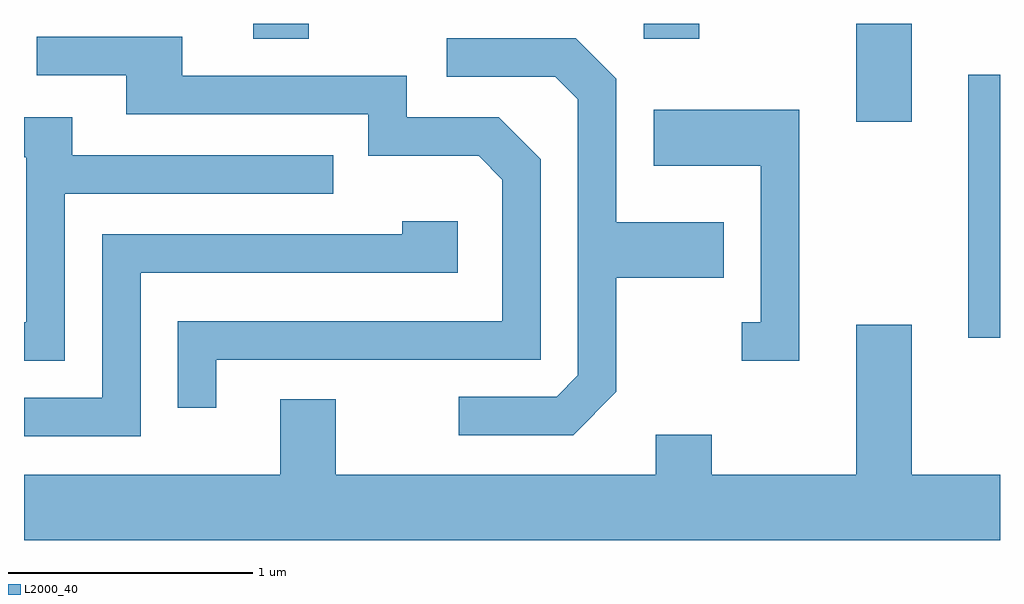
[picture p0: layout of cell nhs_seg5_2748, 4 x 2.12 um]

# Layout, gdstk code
import gdstk
lib = gdstk.Library(unit=1e-6, precision=1e-09)
def R(c, l, rs):  # rectangles x0, y0, x1, y1
    for r in rs: c.add(gdstk.rectangle(r[:2], r[2:], *l))
def P(c, l, *ps):  # polygons
    for p in ps: c.add(gdstk.Polygon(p, *l))
L2000_40 = (2000, 40)

nhs_seg5_2748 = lib.new_cell('nhs_seg5_2748')
R(nhs_seg5_2748, L2000_40, [(271.481,1408.786,271.611,1409.864), (271.021,1409.671,271.249,1410.072), (268.551,1410.011,268.779,1410.072), (270.151,1410.011,270.379,1410.072)])
P(nhs_seg5_2748, L2000_40, [(268.399,1408.696),(269.729,1408.696),(269.729,1409.517),(269.557,1409.689),(269.179,1409.689),(269.179,1409.859),(268.259,1409.859),(268.259,1410.019),(267.663,1410.019),(267.663,1409.861),(268.031,1409.861),(268.031,1409.701),(269.021,1409.701),(269.021,1409.531),(269.474,1409.531),(269.571,1409.434),(269.571,1408.854),(268.241,1408.854),(268.241,1408.498),(268.399,1408.498)],
  [(270.039,1408.564),(270.039,1409.031),(270.479,1409.031),(270.479,1409.259),(270.039,1409.259),(270.039,1409.847),(269.872,1410.014),(269.343,1410.014),(269.343,1409.856),(269.789,1409.856),(269.881,1409.764),(269.881,1408.632),(269.794,1408.544),(269.393,1408.544),(269.393,1408.386),(269.862,1408.386)],
  [(270.789,1409.719),(270.191,1409.719),(270.191,1409.491),(270.631,1409.491),(270.631,1408.849),(270.553,1408.849),(270.553,1408.691),(270.789,1408.691)],
  [(267.779,1409.376),(268.878,1409.376),(268.878,1409.534),(267.809,1409.534),(267.809,1409.689),(267.611,1409.689),(267.611,1409.526),(267.621,1409.526),(267.621,1408.849),(267.611,1408.849),(267.611,1408.691),(267.779,1408.691)],
  [(268.089,1409.051),(269.389,1409.051),(269.389,1409.264),(269.161,1409.264),(269.161,1409.209),(267.931,1409.209),(267.931,1408.539),(267.611,1408.539),(267.611,1408.381),(268.089,1408.381)],
  [(271.611,1408.224),(271.249,1408.224),(271.249,1408.839),(271.021,1408.839),(271.021,1408.224),(270.429,1408.224),(270.429,1408.389),(270.201,1408.389),(270.201,1408.224),(268.889,1408.224),(268.889,1408.534),(268.661,1408.534),(268.661,1408.224),(267.611,1408.224),(267.611,1407.956),(271.611,1407.956)])

lib.write_gds('nhs_seg5_2748.gds')
